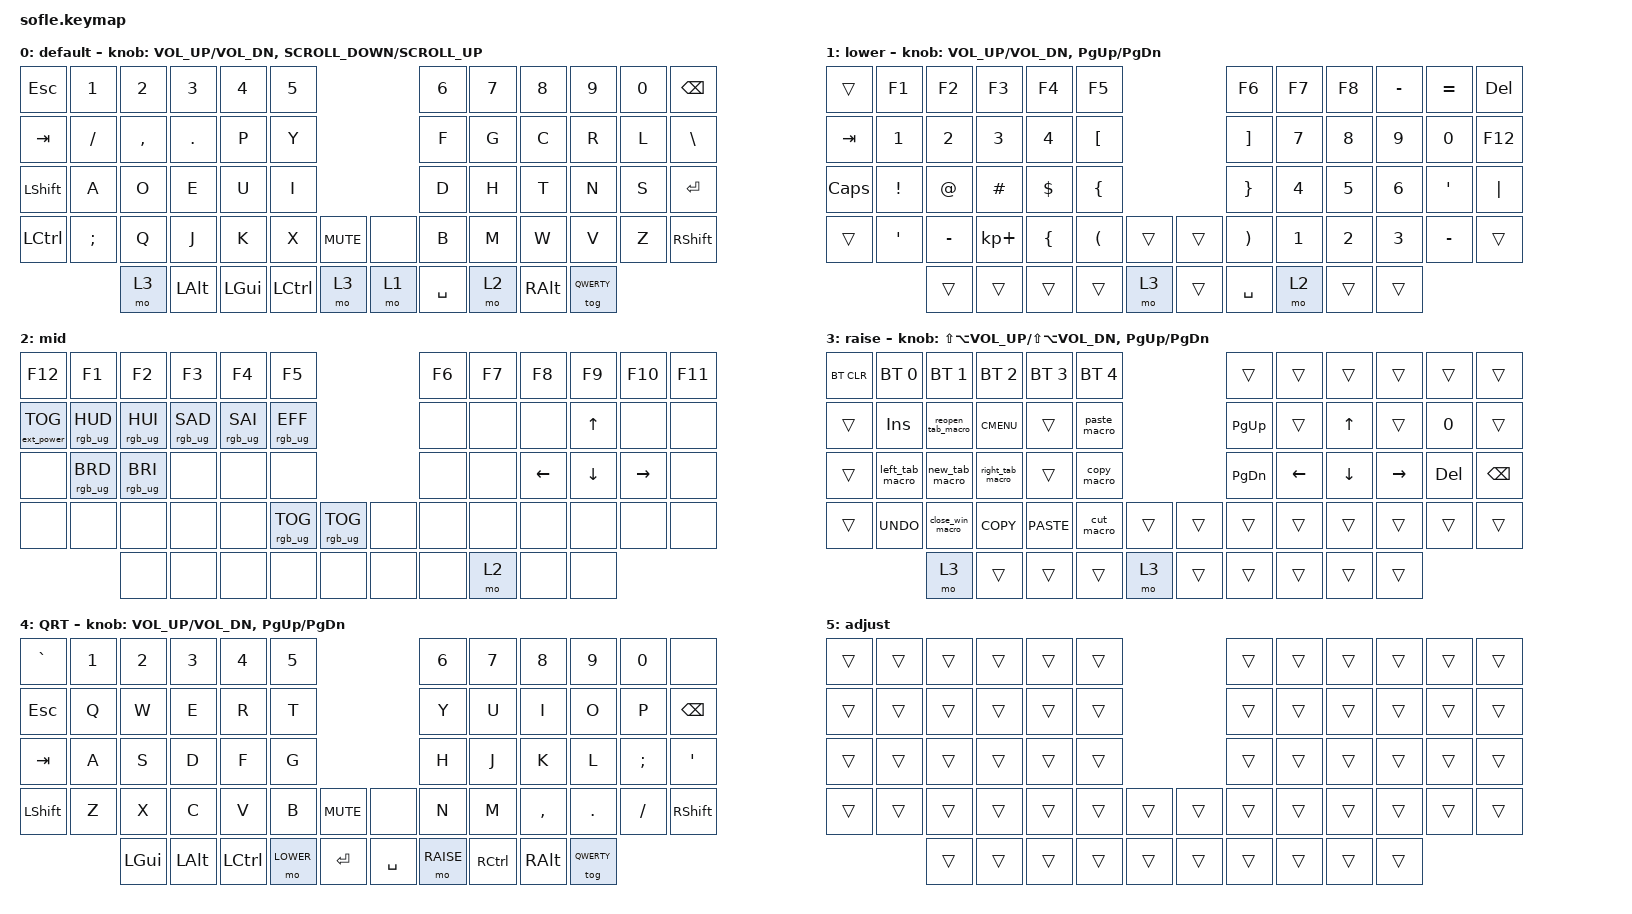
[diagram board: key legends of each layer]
/*
 * Copyright (c) 2020 The ZMK Contributors
 *
 * SPDX-License-Identifier: MIT

 *this is the dvorak sofle keymap as of Jan 28th 2025
 */

#include <behaviors.dtsi>
#include <dt-bindings/zmk/backlight.h>
#include <dt-bindings/zmk/bt.h>
#include <dt-bindings/zmk/ext_power.h>
#include <dt-bindings/zmk/keys.h>
#include <dt-bindings/zmk/rgb.h>
#include <dt-bindings/zmk/mouse.h>

#define MOUSE_SCROLL_MAX 100
#undef SCROLL_UP
#undef SCROLL_DOWN
#undef SCROLL_LEFT
#undef SCROLL_RIGHT
#define SCROLL_UP SCROLL_VERT(MOUSE_SCROLL_MAX)
#define SCROLL_DOWN SCROLL_VERT(-MOUSE_SCROLL_MAX)
#define SCROLL_LEFT SCROLL_HOR(-MOUSE_SCROLL_MAX)
#define SCROLL_RIGHT SCROLL_HOR(MOUSE_SCROLL_MAX)

#define BASE 0
#define LOWER 1
#define MID 2
#define RAISE 3
#define QWERTY 4
#define ADJUST 5



/ {
    // Activate ADJUST layer by pressing raise and lower

    conditional_layers {
        compatible = "zmk,conditional-layers";

        adjust_layer {
            if-layers = <LOWER RAISE>;
            then-layer = <ADJUST>;
        };
    };

    macros {
        cut_macro: cut_macro {
            compatible = "zmk,behavior-macro";
            #binding-cells = <0>;
            wait-ms = <30>;
            tap-ms = <40>;
            bindings =
                <&macro_press &kp LEFT_CONTROL>,
                <&macro_tap &kp X>,
                <&macro_release &kp LEFT_CONTROL>;

            label = "CUT_MACRO";
        };

        copy_macro: copy_macro {
            compatible = "zmk,behavior-macro";
            #binding-cells = <0>;
            wait-ms = <30>;
            tap-ms = <40>;
            bindings =
                <&macro_press &kp LEFT_CONTROL>,
                <&macro_tap &kp C>,
                <&macro_release &kp LEFT_CONTROL>;

            label = "COPY_MACRO";
        };

        paste_macro: paste_macro {
            compatible = "zmk,behavior-macro";
            #binding-cells = <0>;
            wait-ms = <30>;
            tap-ms = <40>;
            bindings =
                <&macro_press &kp LEFT_CONTROL>,
                <&macro_tap &kp V>,
                <&macro_release &kp LEFT_CONTROL>;

            label = "PASTE_MACRO";
        };

        left_tab_macro: left_tab_macro {
            compatible = "zmk,behavior-macro";
            #binding-cells = <0>;
            wait-ms = <30>;
            tap-ms = <40>;
            bindings =
                <&macro_press &kp LEFT_CONTROL &kp LEFT_SHIFT>,
                <&macro_tap &kp TAB>,
                <&macro_release &kp LEFT_SHIFT &kp LEFT_CONTROL>;

            label = "LEFT_TAB_MACRO";
        };

        right_tab_macro: right_tab_macro {
            compatible = "zmk,behavior-macro";
            #binding-cells = <0>;
            wait-ms = <30>;
            tap-ms = <40>;
            bindings =
                <&macro_press &kp LEFT_CONTROL>,
                <&macro_tap &kp TAB>,
                <&macro_release &kp LEFT_CONTROL>;

            label = "RIGHT_TAB_MACRO";
        };

        new_tab_macro: new_tab_macro {
            compatible = "zmk,behavior-macro";
            #binding-cells = <0>;
            wait-ms = <30>;
            tap-ms = <40>;
            bindings =
                <&macro_press &kp LEFT_CONTROL>,
                <&macro_tap &kp T>,
                <&macro_release &kp LEFT_CONTROL>;

            label = "NEW_TAB_MACRO";
        };

        close_win_macro: close_win_macro {
            compatible = "zmk,behavior-macro";
            #binding-cells = <0>;
            bindings =
                <&macro_press &kp LEFT_CONTROL>,
                <&macro_tap &kp W>,
                <&macro_release &kp LEFT_CONTROL>;

            label = "CLOSE_WIN_MACRO";
        };

        reopen_tab_macro: reopen_tab_macro {
            compatible = "zmk,behavior-macro";
            #binding-cells = <0>;
            wait-ms = <30>;
            tap-ms = <40>;
            bindings =
                <&macro_press &kp LEFT_CONTROL &kp LEFT_SHIFT>,
                <&macro_tap &kp T>,
                <&macro_release &kp LEFT_SHIFT &kp LEFT_CONTROL>;

            label = "REOPEN_TAB_MACRO";
        };
    };


      behaviors {
            mouse_wheel: mouse_wheel {
                compatible = "zmk,behavior-sensor-rotate-var";
                label = "MOUSE_WHEEL";
                #sensor-binding-cells = <2>;
                bindings = <&mwh>, <&mwh>;
            };
        };

        keymap {
            compatible = "zmk,keymap";

            default_layer {
                label = "default";
                bindings = <
    &kp ESC    &kp N1     &kp N2     &kp N3    &kp N4    &kp N5                          &kp N6     &kp N7  &kp N8    &kp N9    &kp N0  &kp BSPC
    &kp TAB    &kp SLASH  &kp COMMA  &kp DOT   &kp P     &kp Y                           &kp F      &kp G   &kp C     &kp R     &kp L   &kp BSLH
    &kp LSHFT  &kp A      &kp O      &kp E     &kp U     &kp I                           &kp D      &kp H   &kp T     &kp N     &kp S   &kp RET
    &kp LCTRL  &kp SEMI   &kp Q      &kp J     &kp K     &kp X      &kp C_MUTE    &none  &kp B      &kp M   &kp W     &kp V     &kp Z   &kp RSHFT
                          &mo 3      &kp LALT  &kp LGUI  &kp LCTRL  &mo 3         &mo 1  &kp SPACE  &mo 2   &kp RALT  &tog QWERTY
                >;

                sensor-bindings = <&inc_dec_kp C_VOL_UP C_VOL_DN &mouse_wheel SCROLL_DOWN SCROLL_UP>;
            };

            lower_layer {
                label = "lower";
                bindings = <
    &trans    &kp F1    &kp F2     &kp F3       &kp F4    &kp F5                                  &kp F6                 &kp F7        &kp F8        &kp MINUS     &kp EQUAL  &kp DELETE
    &kp TAB   &kp N1    &kp N2     &kp N3       &kp N4    &kp LEFT_BRACKET                        &kp RIGHT_BRACKET      &kp N7        &kp N8        &kp N9        &kp N0     &kp F12
    &kp CAPS  &kp EXCL  &kp AT     &kp HASH     &kp DLLR  &kp LEFT_BRACE                          &kp RIGHT_BRACE        &kp NUMBER_4  &kp N5        &kp N6        &kp SQT    &kp PIPE
    &trans    &kp SQT   &kp MINUS  &kp KP_PLUS  &kp LBRC  &kp LEFT_PARENTHESIS  &trans    &trans  &kp RIGHT_PARENTHESIS  &kp NUMBER_1  &kp NUMBER_2  &kp NUMBER_3  &kp MINUS  &trans
                        &trans     &trans       &trans    &trans                &mo 3     &trans  &kp SPACE              &mo 2         &trans        &trans
                >;

                sensor-bindings = <&inc_dec_kp C_VOL_UP C_VOL_DN &inc_dec_kp PG_UP PG_DN>;
            };

            mid_layer {
                label = "mid";
                bindings = <
    &kp F12            &kp F1           &kp F2           &kp F3           &kp F4           &kp F5                                     &kp F6  &kp F7  &kp F8          &kp F9          &kp F10          &kp F11
    &ext_power EP_TOG  &rgb_ug RGB_HUD  &rgb_ug RGB_HUI  &rgb_ug RGB_SAD  &rgb_ug RGB_SAI  &rgb_ug RGB_EFF                            &none   &none   &none           &kp UP_ARROW    &none            &none
    &none              &rgb_ug RGB_BRD  &rgb_ug RGB_BRI  &none            &none            &none                                      &none   &none   &kp LEFT_ARROW  &kp DOWN_ARROW  &kp RIGHT_ARROW  &none
    &none              &none            &none            &none            &none            &rgb_ug RGB_TOG            &rgb_ug RGB_TOG    &none  &none   &none   &none           &none           &none            &none
                                        &none            &none            &none            &none            &none              &none  &none   &mo 2   &none           &none
                >;
            };

            raise_layer {
                label = "raise";
                bindings = <
    &bt BT_CLR  &bt BT_SEL 0     &bt BT_SEL 1       &bt BT_SEL 2      &bt BT_SEL 3  &bt BT_SEL 4                    &trans     &trans    &trans    &trans     &trans   &trans
    &trans      &kp INS          &reopen_tab_macro  &kp K_CMENU       &trans        &paste_macro                    &kp PG_UP  &trans    &kp UP    &trans     &kp N0   &trans
    &trans      &left_tab_macro  &new_tab_macro     &right_tab_macro  &trans        &copy_macro                     &kp PG_DN  &kp LEFT  &kp DOWN  &kp RIGHT  &kp DEL  &kp BSPC
    &trans      &kp K_UNDO       &close_win_macro   &kp K_COPY        &kp K_PASTE   &cut_macro    &trans    &trans  &trans     &trans    &trans    &trans     &trans   &trans
                                 &mo 3              &trans            &trans        &trans        &mo 3     &trans  &trans     &trans    &trans    &trans
                >;

                sensor-bindings = <&inc_dec_kp LS(LA(C_VOL_UP)) LS(LA(C_VOL_DN)) &inc_dec_kp PG_UP PG_DN>;
            };

            qwerty_layer {
                label = "QRT";
                bindings = <
    &kp GRAVE &kp N1 &kp N2   &kp N3   &kp N4    &kp N5                           &kp N6 &kp N7    &kp N8    &kp N9   &kp N0   &none
    &kp ESC   &kp Q  &kp W    &kp E    &kp R     &kp T                            &kp Y  &kp U     &kp I     &kp O    &kp P    &kp BSPC
    &kp TAB   &kp A  &kp S    &kp D    &kp F     &kp G                            &kp H  &kp J     &kp K     &kp L    &kp SEMI &kp SQT
    &kp LSHFT &kp Z  &kp X    &kp C    &kp V     &kp B      &kp C_MUTE &none      &kp N  &kp M     &kp COMMA &kp DOT  &kp FSLH &kp RSHFT
                     &kp LGUI &kp LALT &kp LCTRL &mo LOWER  &kp RET    &kp SPACE  &mo RAISE  &kp RCTRL &kp RALT  &tog QWERTY
                >;

                sensor-bindings = <&inc_dec_kp C_VOL_UP C_VOL_DN &inc_dec_kp PG_UP PG_DN>;
            };


            adjust {
                bindings = <
    &trans  &trans  &trans  &trans  &trans  &trans                    &trans  &trans  &trans  &trans  &trans  &trans
    &trans  &trans  &trans  &trans  &trans  &trans                    &trans  &trans  &trans  &trans  &trans  &trans
    &trans  &trans  &trans  &trans  &trans  &trans                    &trans  &trans  &trans  &trans  &trans  &trans
    &trans  &trans  &trans  &trans  &trans  &trans  &trans    &trans  &trans  &trans  &trans  &trans  &trans  &trans
                    &trans  &trans  &trans  &trans  &trans    &trans  &trans  &trans  &trans  &trans
                >;
            };



        };
    };
